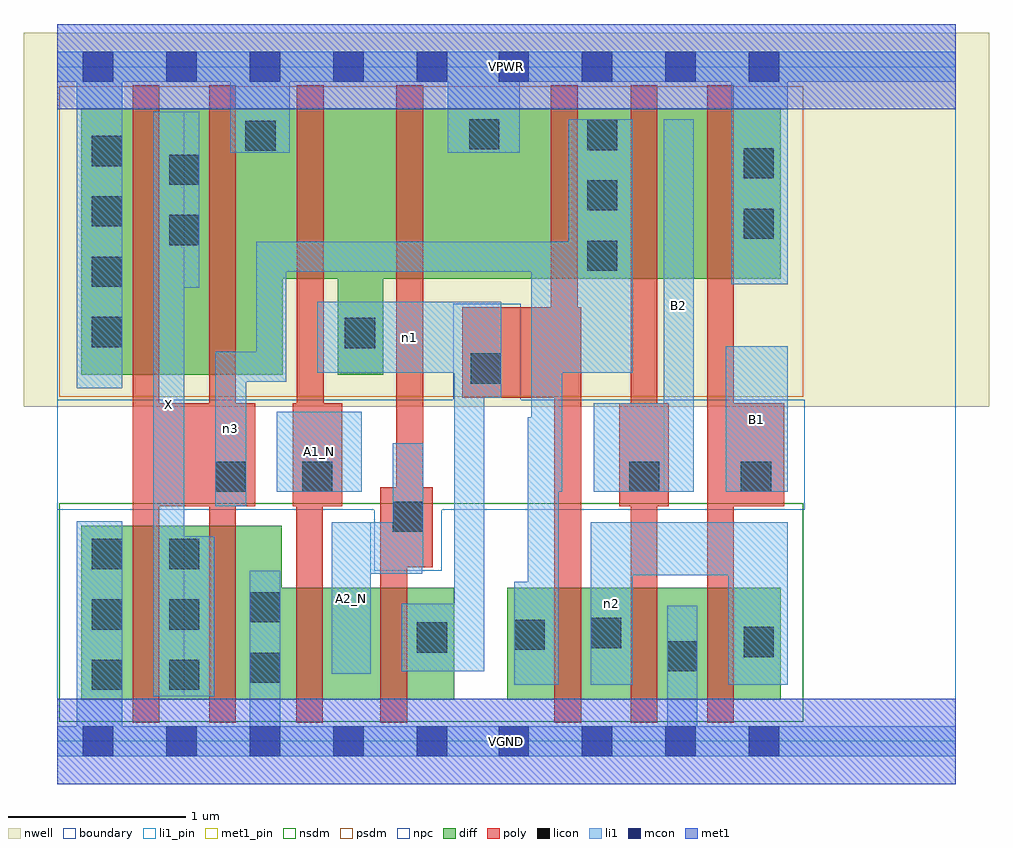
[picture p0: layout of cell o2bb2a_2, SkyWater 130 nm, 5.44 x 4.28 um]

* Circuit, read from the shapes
.subckt o2bb2a_2 A1_N A2_N B1 B2 VGND VPWR X n1 n2 n3
XM1 X n3 VGND VSUBS sky130_fd_pr__nfet_01v8 w=0.98 l=0.15 m=2
XM2 n4 A1_N VGND VSUBS sky130_fd_pr__nfet_01v8 w=0.63 l=0.15
XM3 n1 A2_N n4 VSUBS sky130_fd_pr__nfet_01v8 w=0.63 l=0.15
XM4 n2 n1 n3 VSUBS sky130_fd_pr__nfet_01v8 w=0.63 l=0.15
XM5 VGND B2 n2 VSUBS sky130_fd_pr__nfet_01v8 w=0.63 l=0.15
XM6 n2 B1 VGND VSUBS sky130_fd_pr__nfet_01v8 w=0.63 l=0.15
XM7 X n3 VPWR n5 sky130_fd_pr__pfet_01v8 w=1.5 l=0.15 m=2
XM8 n1 A1_N VPWR n5 sky130_fd_pr__pfet_01v8 w=0.96 l=0.15
XM9 VPWR A2_N n1 n5 sky130_fd_pr__pfet_01v8 w=0.96 l=0.15
XM10 n3 n1 VPWR n5 sky130_fd_pr__pfet_01v8 w=0.96 l=0.15
XM11 n6 B2 n3 n5 sky130_fd_pr__pfet_01v8 w=0.96 l=0.15
XM12 VPWR B1 n6 n5 sky130_fd_pr__pfet_01v8 w=0.96 l=0.15
.ends

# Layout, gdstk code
import gdstk
lib = gdstk.Library(unit=1e-6, precision=1e-09)
def R(c, l, rs):  # rectangles x0, y0, x1, y1
    for r in rs: c.add(gdstk.rectangle(r[:2], r[2:], *l))
def A(c, l, x, y, w, h, nx, ny, dx, dy):  # array of equal rectangles
    R(c, l, [(x+i*dx, y+j*dy, x+i*dx+w, y+j*dy+h) for i in range(nx) for j in range(ny)])
nwell = (64, 20)
diff = (65, 20)
poly = (66, 20)
licon = (66, 44)
li1_pin = (67, 16)
li1 = (67, 20)
mcon = (67, 44)
met1_pin = (68, 16)
met1 = (68, 20)
nsdm = (93, 44)
psdm = (94, 20)
npc = (95, 20)
boundary = (235, 4)

o2bb2a_2 = lib.new_cell('o2bb2a_2')
R(o2bb2a_2, nwell, [(-0.19,1.885,5.25,3.99), (0,1.885,5.06,3.99)])
R(o2bb2a_2, diff, [(0.135,0.235,2.235,0.865), (0.135,0.235,1.265,1.215), (2.535,0.235,4.075,0.865), (0.135,2.065,1.27,3.565), (1.58,2.065,1.835,3.565), (0.135,2.605,4.075,3.565)])
R(o2bb2a_2, poly, [(0.425,0.105,0.575,3.695), (0.855,0.105,1.005,3.695), (1.345,0.105,1.495,1.905), (1.82,0.105,1.97,1.43), (2.8,0.105,2.93,3.695), (2.8,0.105,2.95,2.445), (3.23,0.105,3.38,3.695), (3.66,0.105,3.81,3.695), (1.82,0.98,2.115,1.43), (0.425,1.325,1.115,1.905), (1.325,1.325,1.605,1.905), (1.35,1.325,1.5,3.695), (3.165,1.325,3.445,1.905), (3.66,1.325,4.095,1.905), (1.91,1.43,2.06,3.695), (2.28,1.935,2.95,2.445), (2.78,1.935,2.93,3.695)])
A(o2bb2a_2, licon, 0.195, 0.29, 0.17, 0.17, 1, 3, 0, 0.34)
A(o2bb2a_2, licon, 0.63, 0.29, 0.17, 0.17, 1, 3, 0, 0.34)
A(o2bb2a_2, licon, 0.195, 2.22, 0.17, 0.17, 1, 4, 0, 0.34)
A(o2bb2a_2, licon, 2.985, 2.65, 0.17, 0.17, 1, 3, 0, 0.34)
R(o2bb2a_2, licon, [(1.085,0.33,1.255,0.5), (3.435,0.395,3.605,0.565), (3.865,0.475,4.035,0.645), (2.025,0.5,2.195,0.67), (2.575,0.515,2.745,0.685), (3.005,0.525,3.175,0.695), (1.085,0.67,1.255,0.84), (1.89,1.18,2.06,1.35), (0.89,1.405,1.06,1.575), (1.38,1.405,1.55,1.575), (3.22,1.405,3.39,1.575), (3.85,1.405,4.02,1.575), (2.33,2.015,2.5,2.185), (1.62,2.215,1.79,2.385), (0.63,2.795,0.8,2.965), (3.865,2.83,4.035,3), (0.63,3.135,0.8,3.305), (3.865,3.17,4.035,3.34), (1.06,3.325,1.23,3.495), (2.32,3.335,2.49,3.505)])
R(o2bb2a_2, li1_pin, [(0.54,0.255,0.715,3.545), (1.545,0.38,1.765,1.235), (1.235,1.405,1.715,1.855), (3.415,1.405,3.585,3.505), (3.765,1.405,4.115,2.225)])
R(o2bb2a_2, li1, [(0,-0.085,5.06,0.085), (0.11,-0.085,0.365,1.24), (1.085,-0.085,1.255,0.96), (3.435,-0.085,3.605,0.765), (0.54,0.255,0.715,3.545), (0.54,0.255,0.885,1.155), (2.575,0.32,2.825,0.9), (2.65,0.32,2.825,1.825), (3.005,0.32,3.24,1.235), (3.78,0.32,4.115,1.235), (1.545,0.38,1.765,1.235), (1.94,0.395,2.405,0.775), (2.235,0.395,2.405,2.475), (3.005,0.935,4.115,1.235), (1.765,0.945,2.055,1.235), (1.89,0.98,2.06,1.68), (0.89,1.325,1.065,2.195), (1.235,1.405,1.715,1.855), (2.67,1.405,2.845,2.815), (3.02,1.405,3.585,1.905), (3.415,1.405,3.585,3.505), (3.765,1.405,4.115,2.225), (2.235,1.935,2.5,2.475), (0.11,1.99,0.365,3.885), (0.89,2.025,1.29,2.195), (1.12,2.025,1.29,2.815), (1.465,2.075,2.5,2.475), (2.67,2.075,3.24,2.815), (2.88,2.075,3.24,3.505), (0.54,2.555,0.8,3.545), (3.795,2.575,4.115,3.885), (1.12,2.645,3.24,2.815), (0.975,3.315,1.31,3.885), (2.2,3.315,2.605,3.885), (0,3.715,5.06,3.885)])
A(o2bb2a_2, mcon, 0.145, -0.085, 0.17, 0.17, 5, 2, 0.47, 3.8)
A(o2bb2a_2, mcon, 2.485, -0.085, 0.17, 0.17, 4, 2, 0.47, 3.8)
R(o2bb2a_2, met1_pin, [(0,-0.24,5.06,0.24), (0,3.56,5.06,4.04)])
R(o2bb2a_2, met1, [(0,-0.24,5.06,0.24), (0,3.56,5.06,4.04)])
R(o2bb2a_2, nsdm, [(0.01,0.11,4.2,1.34)])
R(o2bb2a_2, psdm, [(0.01,1.94,4.2,3.69)])
R(o2bb2a_2, npc, [(1.785,0.96,2.165,1.925), (0,1.305,4.21,1.925), (2.23,1.305,2.61,2.465)])
R(o2bb2a_2, boundary, [(0,0,5.06,3.8)])
o2bb2a_2.add(gdstk.Label('A1_N', (1.475,1.63), layer=67, texttype=5))
o2bb2a_2.add(gdstk.Label('A2_N', (1.655,0.807), layer=67, texttype=5))
o2bb2a_2.add(gdstk.Label('B1', (3.94,1.815), layer=67, texttype=5))
o2bb2a_2.add(gdstk.Label('B2', (3.5,2.455), layer=67, texttype=5))
o2bb2a_2.add(gdstk.Label('X', (0.627,1.9), layer=67, texttype=5))
o2bb2a_2.add(gdstk.Label('n2', (3.122,0.777), layer=67, texttype=5))
o2bb2a_2.add(gdstk.Label('n1', (1.982,2.275), layer=67, texttype=5))
o2bb2a_2.add(gdstk.Label('n3', (0.977,1.76), layer=67, texttype=5))
o2bb2a_2.add(gdstk.Label('VPWR', (2.53,3.8), layer=68, texttype=5))
o2bb2a_2.add(gdstk.Label('VGND', (2.53,0), layer=68, texttype=5))
o2bb2a_2.add(gdstk.Label('A1_N', (1.475,1.63), layer=67, texttype=16))
o2bb2a_2.add(gdstk.Label('A2_N', (1.655,0.807), layer=67, texttype=16))
o2bb2a_2.add(gdstk.Label('B1', (3.94,1.815), layer=67, texttype=16))
o2bb2a_2.add(gdstk.Label('B2', (3.5,2.455), layer=67, texttype=16))
o2bb2a_2.add(gdstk.Label('X', (0.627,1.9), layer=67, texttype=16))
o2bb2a_2.add(gdstk.Label('VPWR', (2.53,3.8), layer=68, texttype=16))
o2bb2a_2.add(gdstk.Label('VGND', (2.53,0), layer=68, texttype=16))

lib.write_gds('o2bb2a_2.gds')
